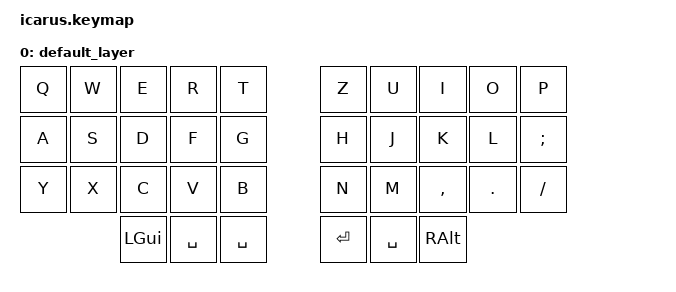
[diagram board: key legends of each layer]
#include <behaviors.dtsi>
#include <dt-bindings/zmk/keys.h>
#include <dt-bindings/zmk/bt.h>

/ {
        keymap {
                compatible = "zmk,keymap";

                default_layer {
                        bindings = <
   &kp Q &kp W &kp E &kp R &kp T   &kp Z &kp U  &kp I     &kp O   &kp P   
   &kp A &kp S &kp D &kp F &kp G   &kp H &kp J  &kp K     &kp L   &kp SEMI
   &kp Y &kp X &kp C &kp V &kp B   &kp N &kp M  &kp COMMA &kp DOT &kp FSLH
                  &kp LGUI &kp SPACE &kp SPACE   &kp RET &kp SPACE &kp RALT
                        >;
                };
        };
};
